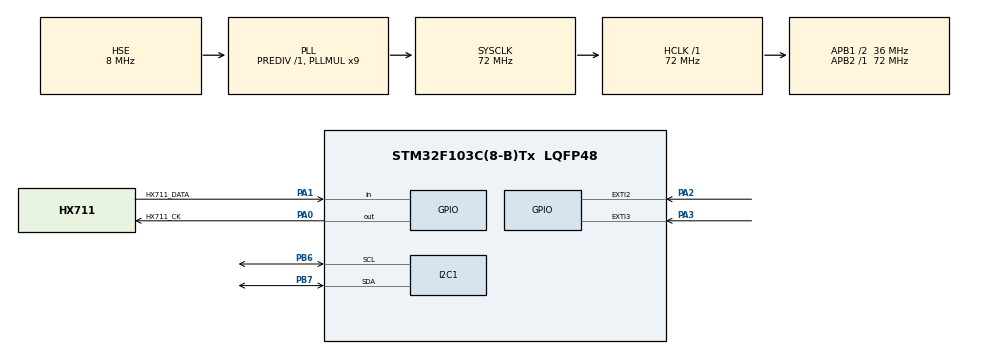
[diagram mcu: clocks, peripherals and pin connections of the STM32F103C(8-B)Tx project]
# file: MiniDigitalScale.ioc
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Mcu.Family=STM32F1
Mcu.Name=STM32F103C(8-B)Tx
Mcu.Package=LQFP48
NVIC.EXTI2_IRQn=true\:5\:0\:true\:false\:true\:true\:true\:true
NVIC.EXTI3_IRQn=true\:6\:0\:true\:false\:true\:true\:true\:true
NVIC.PriorityGroup=NVIC_PRIORITYGROUP_4
PA0-WKUP.GPIO_Label=HX711_CK
PA0-WKUP.Signal=GPIO_Output
PA1.GPIO_Label=HX711_DATA
PA1.Signal=GPIO_Input
PA13.Mode=Serial_Wire
PA13.Signal=SYS_JTMS-SWDIO
PA14.Mode=Serial_Wire
PA14.Signal=SYS_JTCK-SWCLK
PA2.GPIO_ModeDefaultEXTI=GPIO_MODE_IT_FALLING
PA2.GPIO_PuPd=GPIO_PULLUP
PA2.Signal=GPXTI2
PA3.GPIO_ModeDefaultEXTI=GPIO_MODE_IT_FALLING
PA3.GPIO_PuPd=GPIO_PULLUP
PA3.Signal=GPXTI3
PB6.Mode=I2C
PB6.Signal=I2C1_SCL
PB7.Mode=I2C
PB7.Signal=I2C1_SDA
PD0-OSC_IN.Mode=HSE-External-Oscillator
PD0-OSC_IN.Signal=RCC_OSC_IN
PD1-OSC_OUT.Mode=HSE-External-Oscillator
PD1-OSC_OUT.Signal=RCC_OSC_OUT
ProjectManager.HeapSize=0x200
ProjectManager.StackSize=0x400
ProjectManager.TargetToolchain=STM32CubeIDE
RCC.AHBFreq_Value=72000000
RCC.APB1CLKDivider=RCC_HCLK_DIV2
RCC.APB1Freq_Value=36000000
RCC.APB1TimFreq_Value=72000000
RCC.APB2Freq_Value=72000000
RCC.APB2TimFreq_Value=72000000
RCC.HCLKFreq_Value=72000000
RCC.PLLMUL=RCC_PLL_MUL9
RCC.PLLSourceVirtual=RCC_PLLSOURCE_HSE
RCC.SYSCLKFreq_VALUE=72000000
RCC.SYSCLKSource=RCC_SYSCLKSOURCE_PLLCLK
RCC.USBFreq_Value=72000000
board=custom

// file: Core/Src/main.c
/* USER CODE BEGIN Header */
/**
  ******************************************************************************
  * @file           : main.c
  * @brief          : Main program body
  ******************************************************************************
  * @attention
  *
  * Copyright (c) 2023 STMicroelectronics.
  * All rights reserved.
  *
  * This software is licensed under terms that can be found in the LICENSE file
  * in the root directory of this software component.
  * If no LICENSE file comes with this software, it is provided AS-IS.
  *
  ******************************************************************************
  */
/* USER CODE END Header */
#include "main.h"

/* USER CODE BEGIN Includes */
#include "i2c-lcd.h"
#include "HX711.h"
#include "stdio.h"
#include "stdbool.h"
/* USER CODE END Includes */

/* USER CODE BEGIN PD */
#define STR_MAX_LEN 7
#define NUM_SAMPLES 15

/* USER CODE END PD */

I2C_HandleTypeDef hi2c1;

/* USER CODE BEGIN PV */
hx711_t loadcell;
float weight = 0;
float raw = 0;
char str[STR_MAX_LEN];
bool tare = false;

/* USER CODE END PV */

void SystemClock_Config(void);
static void MX_GPIO_Init(void);
static void MX_I2C1_Init(void);

int main(void)
{

  /* MCU Configuration--------------------------------------------------------*/

  /* Reset of all peripherals, Initializes the Flash interface and the Systick. */
   HAL_Init();

  /* Configure the system clock */
  SystemClock_Config();

  /* Initialize all configured peripherals */
  MX_GPIO_Init();
  MX_I2C1_Init();
  /* USER CODE BEGIN 2 */
  lcd_init();
  lcd_clear();
  lcd_put_cur(0, 3);
  lcd_send_string("MINI SCALE");
  hx711_init(&loadcell, HX711_CK_GPIO_Port, HX711_CK_Pin, HX711_DATA_GPIO_Port, HX711_DATA_Pin);
  hx711_calibration(&loadcell, 7994951, 7984997, 24.0);

  /* USER CODE END 2 */

  /* Infinite loop */
  while (1)
  {

    /* USER CODE BEGIN 3 */
	  if(tare){
		  hx711_tare(&loadcell, 2);
		  tare = false;
	  }
	  weight = hx711_weight(&loadcell, 2);
	  if(weight < 0) weight = 0;
	  sprintf(str, "%.2f", weight);
	  lcd_put_cur(1, 2);
	  lcd_send_string("        ");
	  lcd_put_cur(1, 2);
	  lcd_send_string(str);
	  lcd_put_cur(1, 10);
	  lcd_send_string("GAM");
  }
  /* USER CODE END 3 */
}

void SystemClock_Config(void)
{
  RCC_OscInitTypeDef RCC_OscInitStruct = {0};
  RCC_ClkInitTypeDef RCC_ClkInitStruct = {0};

  /** Initializes the RCC Oscillators according to the specified parameters
  * in the RCC_OscInitTypeDef structure.
  */
  RCC_OscInitStruct.OscillatorType = RCC_OSCILLATORTYPE_HSE;
  RCC_OscInitStruct.HSEState = RCC_HSE_ON;
  RCC_OscInitStruct.HSEPredivValue = RCC_HSE_PREDIV_DIV1;
  RCC_OscInitStruct.HSIState = RCC_HSI_ON;
  RCC_OscInitStruct.PLL.PLLState = RCC_PLL_ON;
  RCC_OscInitStruct.PLL.PLLSource = RCC_PLLSOURCE_HSE;
  RCC_OscInitStruct.PLL.PLLMUL = RCC_PLL_MUL9;
  if (HAL_RCC_OscConfig(&RCC_OscInitStruct) != HAL_OK)
  {
    Error_Handler();
  }

  /** Initializes the CPU, AHB and APB buses clocks
  */
  RCC_ClkInitStruct.ClockType = RCC_CLOCKTYPE_HCLK|RCC_CLOCKTYPE_SYSCLK
                              |RCC_CLOCKTYPE_PCLK1|RCC_CLOCKTYPE_PCLK2;
  RCC_ClkInitStruct.SYSCLKSource = RCC_SYSCLKSOURCE_PLLCLK;
  RCC_ClkInitStruct.AHBCLKDivider = RCC_SYSCLK_DIV1;
  RCC_ClkInitStruct.APB1CLKDivider = RCC_HCLK_DIV2;
  RCC_ClkInitStruct.APB2CLKDivider = RCC_HCLK_DIV1;

  if (HAL_RCC_ClockConfig(&RCC_ClkInitStruct, FLASH_LATENCY_2) != HAL_OK)
  {
    Error_Handler();
  }
}

static void MX_I2C1_Init(void)
{

  hi2c1.Instance = I2C1;
  hi2c1.Init.ClockSpeed = 100000;
  hi2c1.Init.DutyCycle = I2C_DUTYCYCLE_2;
  hi2c1.Init.OwnAddress1 = 0;
  hi2c1.Init.AddressingMode = I2C_ADDRESSINGMODE_7BIT;
  hi2c1.Init.DualAddressMode = I2C_DUALADDRESS_DISABLE;
  hi2c1.Init.OwnAddress2 = 0;
  hi2c1.Init.GeneralCallMode = I2C_GENERALCALL_DISABLE;
  hi2c1.Init.NoStretchMode = I2C_NOSTRETCH_DISABLE;
  if (HAL_I2C_Init(&hi2c1) != HAL_OK)
  {
    Error_Handler();
  }

}

static void MX_GPIO_Init(void)
{
  GPIO_InitTypeDef GPIO_InitStruct = {0};

  /* GPIO Ports Clock Enable */
  __HAL_RCC_GPIOD_CLK_ENABLE();
  __HAL_RCC_GPIOA_CLK_ENABLE();
  __HAL_RCC_GPIOB_CLK_ENABLE();

  /*Configure GPIO pin Output Level */
  HAL_GPIO_WritePin(HX711_CK_GPIO_Port, HX711_CK_Pin, GPIO_PIN_RESET);

  /*Configure GPIO pin : HX711_CK_Pin */
  GPIO_InitStruct.Pin = HX711_CK_Pin;
  GPIO_InitStruct.Mode = GPIO_MODE_OUTPUT_PP;
  GPIO_InitStruct.Pull = GPIO_NOPULL;
  GPIO_InitStruct.Speed = GPIO_SPEED_FREQ_LOW;
  HAL_GPIO_Init(HX711_CK_GPIO_Port, &GPIO_InitStruct);

  /*Configure GPIO pin : HX711_DATA_Pin */
  GPIO_InitStruct.Pin = HX711_DATA_Pin;
  GPIO_InitStruct.Mode = GPIO_MODE_INPUT;
  GPIO_InitStruct.Pull = GPIO_NOPULL;
  HAL_GPIO_Init(HX711_DATA_GPIO_Port, &GPIO_InitStruct);

  /*Configure GPIO pins : PA2 PA3 */
  GPIO_InitStruct.Pin = GPIO_PIN_2|GPIO_PIN_3;
  GPIO_InitStruct.Mode = GPIO_MODE_IT_FALLING;
  GPIO_InitStruct.Pull = GPIO_PULLUP;
  HAL_GPIO_Init(GPIOA, &GPIO_InitStruct);

  /* EXTI interrupt init*/
  HAL_NVIC_SetPriority(EXTI2_IRQn, 5, 0);
  HAL_NVIC_EnableIRQ(EXTI2_IRQn);

  HAL_NVIC_SetPriority(EXTI3_IRQn, 6, 0);
  HAL_NVIC_EnableIRQ(EXTI3_IRQn);

}

/* USER CODE BEGIN 4 */
void HAL_GPIO_EXTI_Callback(uint16_t GPIO_Pin)
{
	if(GPIO_Pin == GPIO_PIN_2){
		lcd_clear();
		lcd_put_cur(0, 4);
		lcd_send_string("PCS MODE");
		pcs_mode = ! pcs_mode;
		HAL_Delay(700);
		lcd_clear();
	}else if(GPIO_Pin == GPIO_PIN_3){ //Tare
		lcd_clear();
		lcd_put_cur(0, 5);
		lcd_send_string("TARED!");
		if(!tare) tare = true;
		HAL_Delay(700);
		lcd_clear();
	}
}
/* USER CODE END 4 */

void Error_Handler(void)
{
  __disable_irq();
  while (1)
  {
  }
}
